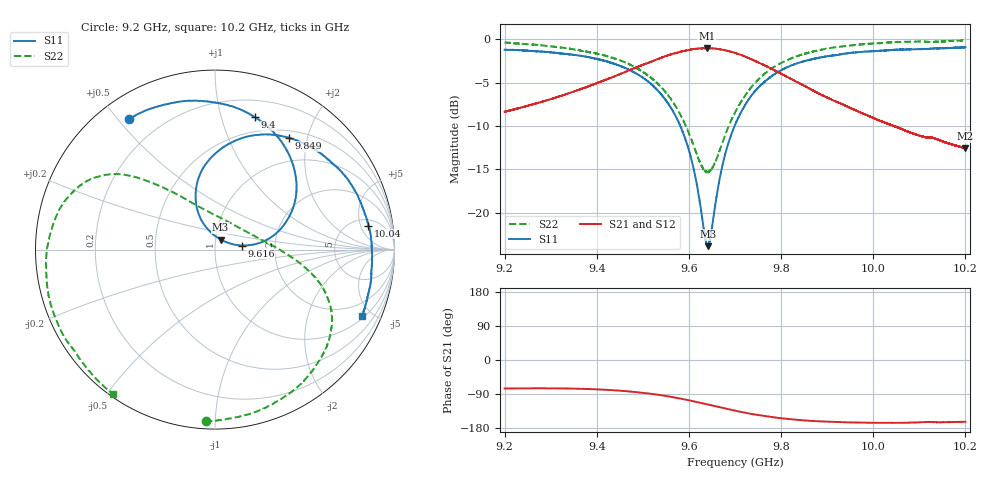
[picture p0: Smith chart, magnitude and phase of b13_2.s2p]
!Agilent Technologies,N5242A,MY51221714,A.09.90.19
!Agilent N5242A: A.09.90.19
!Date: Saturday, December 30, 2023 10:05:32
!Correction: S11(Full 2 Port(1,2))
!S21(Full 2 Port(1,2))
!S12(Full 2 Port(1,2))
!S22(Full 2 Port(1,2))
!S2P File: Measurements: S11, S21, S12, S22:
# Hz S  dB  R 50
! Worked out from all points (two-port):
!   16001 points, 9.2 GHz to 10.2 GHz, reference 50 ohm
!   highest |S21| = -1.02 dB at 9.639 GHz (marker M1); lowest = -12.6 dB at 10.2 GHz (marker M2)
!   |S21| within 3 dB of the highest: 9.45022 GHz to 9.450271 GHz (51.49 kHz wide, 0.000545 % of centre); 9.45 GHz to 9.802 GHz (351.1 MHz wide, 3.65 % of centre)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
!   lowest |S11| = -23.9 dB at 9.641 GHz (marker M3), VSWR 1.14, Z = 52.9 + j5.94 ohm
!   |S11| at or under -10 dB: 9.581 GHz to 9.699 GHz (118 MHz wide, 1.22 % of centre)
!   |S22| runs from -15.4 to -0.1 dB; largest |S21 - S12| = 0.012
!   S11 on the Smith chart (normalised r, x): 9.2 GHz: 0.09, +0.53; 9.4 GHz: 0.35, +1.28; 9.616 GHz: 1.34, +0.06; 9.849 GHz: 0.60, +1.69; 10.04 GHz: 6.44, +6.88; 10.2 GHz: 1.12, -4.36
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9.2e9  -1.21 123.6  -8.36 -75.2  -8.35 -75.9  -0.37 -93.1
9.277875e9  -1.41 105.2  -7.27 -74.6  -7.25 -75.2  -0.68 -72.2
9.366688e9  -1.92 82.6  -5.72 -76.1  -5.71 -76.7  -1.31 -49.6
9.39975e9  -2.26 73.2  -5.06 -77.6  -5.04 -78.2  -1.65 -41.6
9.475375e9  -3.65 49.8  -3.47 -83.5  -3.45 -84.2  -3.00 -25.3
9.533375e9  -5.98 29.3  -2.27 -91.8  -2.26 -92.4  -5.18 -13.8
9.582938e9  -10.18 11.7  -1.42 -102.2  -1.42 -102.8  -8.87 -0.1
9.616375e9  -16.51 8.8  -1.09 -110.8  -1.09 -111.4  -13.18 22.8
9.638688e9  -23.66 51.1  -1.02 -116.9  -1.02 -117.5  -15.28 58.8
9.640812e9  -23.87 61.0  -1.03 -117.5  -1.02 -118.2  -15.33 63.2
9.673938e9  -14.30 115.1  -1.22 -126.8  -1.21 -127.4  -11.75 111.2
9.7e9  -9.90 109.7  -1.57 -133.8  -1.55 -134.4  -8.45 124.8
9.732375e9  -6.75 98.1  -2.24 -141.6  -2.22 -142.3  -5.73 133.6
9.775938e9  -4.39 81.4  -3.31 -149.9  -3.31 -150.6  -3.51 141.2
9.84925e9  -2.54 56.6  -5.33 -159.3  -5.33 -160.0  -1.70 153.3
9.866688e9  -2.30 51.3  -5.82 -160.8  -5.83 -161.4  -1.46 156.6
9.950125e9  -1.58 29.0  -7.92 -164.8  -7.92 -165.4  -0.72 173.9
1.003338e10  -1.26 9.4  -9.79 -165.7  -9.78 -166.4  -0.38 -167.0
1.003556e10  -1.25 8.9  -9.83 -165.7  -9.82 -166.4  -0.37 -166.5
1.010681e10  -1.12 -5.9  -11.21 -164.1  -11.22 -164.9  -0.26 -149.2
1.019938e10  -0.93 -24.2  -12.57 -163.2  -12.56 -163.7  -0.15 -125.3
1.02e10  -0.92 -24.4  -12.56 -163.0  -12.55 -163.9  -0.14 -125.2
